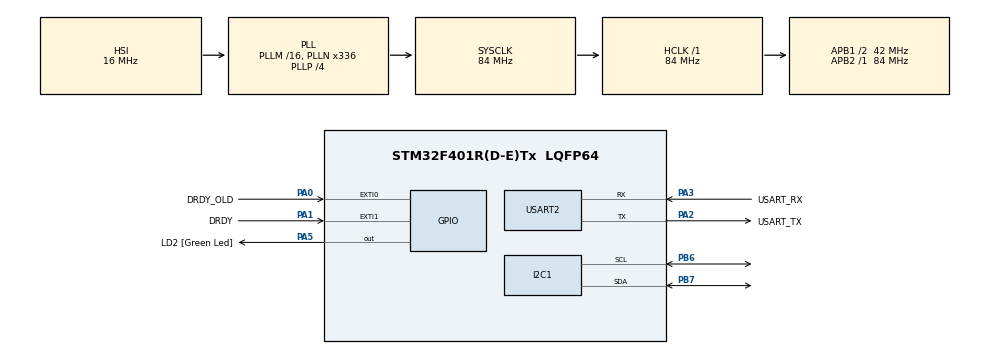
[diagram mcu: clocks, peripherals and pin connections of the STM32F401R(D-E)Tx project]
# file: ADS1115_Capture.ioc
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Mcu.Family=STM32F4
Mcu.Name=STM32F401R(D-E)Tx
Mcu.Package=LQFP64
NVIC.EXTI0_IRQn=true\:0\:0\:false\:false\:true\:true\:true\:true
NVIC.EXTI1_IRQn=true\:0\:0\:false\:false\:true\:true\:true\:true
NVIC.PriorityGroup=NVIC_PRIORITYGROUP_0
PA0-WKUP.GPIO_Label=DRDY_OLD
PA0-WKUP.GPIO_ModeDefaultEXTI=GPIO_MODE_IT_RISING
PA0-WKUP.GPIO_PuPd=GPIO_NOPULL
PA0-WKUP.Signal=GPXTI0
PA1.GPIO_Label=DRDY
PA1.Signal=GPXTI1
PA2.GPIO_Label=USART_TX
PA2.GPIO_Mode=GPIO_MODE_AF_PP
PA2.GPIO_PuPd=GPIO_NOPULL
PA2.GPIO_Speed=GPIO_SPEED_FREQ_LOW
PA2.Mode=Asynchronous
PA2.Signal=USART2_TX
PA3.GPIO_Label=USART_RX
PA3.GPIO_Mode=GPIO_MODE_AF_PP
PA3.GPIO_PuPd=GPIO_NOPULL
PA3.GPIO_Speed=GPIO_SPEED_FREQ_LOW
PA3.Mode=Asynchronous
PA3.Signal=USART2_RX
PA5.GPIO_Label=LD2 [Green Led]
PA5.GPIO_Mode=GPIO_MODE_OUTPUT_PP
PA5.GPIO_PuPd=GPIO_NOPULL
PA5.GPIO_Speed=GPIO_SPEED_FREQ_LOW
PA5.Signal=GPIO_Output
PB6.Mode=I2C
PB6.Signal=I2C1_SCL
PB7.Mode=I2C
PB7.Signal=I2C1_SDA
ProjectManager.HeapSize=0x200
ProjectManager.StackSize=0x400
ProjectManager.TargetToolchain=STM32CubeIDE
RCC.48MHZClocksFreq_Value=48000000
RCC.AHBFreq_Value=84000000
RCC.APB1CLKDivider=RCC_HCLK_DIV2
RCC.APB1Freq_Value=42000000
RCC.APB1TimFreq_Value=84000000
RCC.APB2Freq_Value=84000000
RCC.APB2TimFreq_Value=84000000
RCC.CortexFreq_Value=84000000
RCC.HCLKFreq_Value=84000000
RCC.HSE_VALUE=8000000
RCC.HSI_VALUE=16000000
RCC.LSE_VALUE=32768
RCC.PLLN=336
RCC.PLLP=RCC_PLLP_DIV4
RCC.PLLQ=7
RCC.SYSCLKFreq_VALUE=84000000
RCC.SYSCLKSource=RCC_SYSCLKSOURCE_PLLCLK
RCC.VCOOutputFreq_Value=336000000
USART2.VirtualMode=VM_ASYNC
board=NUCLEO-F401RE

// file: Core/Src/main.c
/* USER CODE BEGIN Header */
/**
  ******************************************************************************
  * @file           : main.c
  * @brief          : Main program body
  ******************************************************************************
  * @attention
  *
  * Copyright (c) 2023 STMicroelectronics.
  * All rights reserved.
  *
  * This software is licensed under terms that can be found in the LICENSE file
  * in the root directory of this software component.
  * If no LICENSE file comes with this software, it is provided AS-IS.
  *
  ******************************************************************************
  */
/* USER CODE END Header */
#include "main.h"

/* USER CODE BEGIN Includes */
#include <inttypes.h>
#include <string.h>
#include <stdio.h>

#include "stm32f4xx_hal_tim.h"

/* USER CODE END Includes */

/* USER CODE BEGIN PD */

#define CONTROL_BYTE_W 0b10010000
#define CONTROL_BYTE_R 0b10010001

#define CONFIG_REG_ADDR 0x01
#define LOW_THRESHOLD_RED_ADDR 0x02
#define HIGH_THROSHOLD_REG_ADDR 0x03

#define CONFIG_REG_MSB 0b11000011
#define CONFIG_REG_LSB 0b11100000

/* USER CODE END PD */

I2C_HandleTypeDef hi2c1;

UART_HandleTypeDef huart2;

void SystemClock_Config(void);
static void MX_GPIO_Init(void);
static void MX_USART2_UART_Init(void);
static void MX_I2C1_Init(void);

/* USER CODE BEGIN 0 */

void ADS1115_INIT(void)
{

	uint8_t i2c_tx_data[3];

	//CONFIG
	i2c_tx_data[0]= CONFIG_REG_ADDR; //Conf Reg Address
	i2c_tx_data[1] = CONFIG_REG_MSB; //MSB Conf Reg
	i2c_tx_data[2] = CONFIG_REG_LSB; //LSB Conf Reg
	HAL_I2C_Master_Transmit(&hi2c1, CONTROL_BYTE_W, i2c_tx_data, 3*8, HAL_MAX_DELAY);
	HAL_Delay(20);

	i2c_tx_data[0] = LOW_THRESHOLD_RED_ADDR; //Lo-threshold Register Address
	i2c_tx_data[1] = 0x00; //MSB lo-t Reg
	i2c_tx_data[2] = 0x00; //LSB lo-t Reg
	HAL_I2C_Master_Transmit(&hi2c1, CONTROL_BYTE_W, i2c_tx_data, 3*8, HAL_MAX_DELAY);
	HAL_Delay(20);

	i2c_tx_data[0] = HIGH_THROSHOLD_REG_ADDR; //Hi-threshold Register Address
	i2c_tx_data[1] = 0xFF; //MSB hi-t Reg
	i2c_tx_data[2] = 0xFF; //LSB hi-t Reg
	HAL_I2C_Master_Transmit(&hi2c1, CONTROL_BYTE_W, i2c_tx_data, 3*8, HAL_MAX_DELAY);
	HAL_Delay(20);

	//TxBuffer[0] = 0x00; //Conversion Register Address
	//HAL_I2C_Master_Transmit(&hi2c1, CONTROL_BYTE_W, TxBuffer, 8, HAL_MAX_DELAY);
	//HAL_Delay(20);

}

void HAL_GPIO_EXTI_Callback(uint16_t GPIO_Pin){

	if(GPIO_Pin == DRDY_Pin)
	{

		char tx_value_str[12];
		uint8_t i2c_rx_data[2];

		HAL_I2C_Mem_Read(&hi2c1, CONTROL_BYTE_R, 0, 1, i2c_rx_data, 2, HAL_MAX_DELAY);

		uint16_t conversion_value = (i2c_rx_data[0] << 8) | (i2c_rx_data[1]);

		uint16_t nbytes = sprintf(tx_value_str, "%d\n\r", conversion_value);

		HAL_UART_Transmit(&huart2, tx_value_str, nbytes, HAL_MAX_DELAY);

	}

}

void TIM4_IRQHandler(TIM_HandleTypeDef *htim){
  if(TIM4->SR & TIM_SR_UIF)
  {

	HAL_GPIO_WritePin(LD2_GPIO_Port, LD2_Pin, 1);

	uint8_t i2c_tx_data[3];

	i2c_tx_data[0]= CONFIG_REG_ADDR; //Conf Reg Address
	i2c_tx_data[1] = CONFIG_REG_MSB; //MSB Conf Reg
	i2c_tx_data[2] = CONFIG_REG_LSB; //LSB Conf Reg Para 860SPS

	HAL_I2C_Master_Transmit(&hi2c1, CONTROL_BYTE_W, i2c_tx_data, 3*8, HAL_MAX_DELAY);
	HAL_GPIO_WritePin(LD2_GPIO_Port, LD2_Pin, 0);
	TIM4->SR &= 0;

  }

}

/* USER CODE END 0 */

int main(void)
{

  /* MCU Configuration--------------------------------------------------------*/

  /* Reset of all peripherals, Initializes the Flash interface and the Systick. */
  HAL_Init();

  /* Configure the system clock */
  SystemClock_Config();

  /* Initialize all configured peripherals */
  MX_GPIO_Init();
  MX_USART2_UART_Init();
  MX_I2C1_Init();
  /* USER CODE BEGIN 2 */

  ADS1115_INIT();

  //Configuro manualmente TIM4 para samplear a 500SPS.
  //El generador de codigo de STM32CubeIDE no funciona... :(

  RCC->APB1ENR |= RCC_APB1ENR_TIM4EN;
  TIM4->PSC = 2	;
  TIM4->ARR = 55999;
  TIM4->DIER |= TIM_DIER_UIE;
  TIM4->SR &= ~TIM_SR_UIF;
  NVIC_EnableIRQ(TIM4_IRQn);
  HAL_NVIC_SetPriority(TIM4_IRQn, 0, 0);
  TIM4->CR1 |= TIM_CR1_CEN;

  /* USER CODE END 2 */

  /* Infinite loop */
  while (1)
  {

  }
}

void SystemClock_Config(void)
{
  RCC_OscInitTypeDef RCC_OscInitStruct = {0};
  RCC_ClkInitTypeDef RCC_ClkInitStruct = {0};

  /** Configure the main internal regulator output voltage
  */
  __HAL_RCC_PWR_CLK_ENABLE();
  __HAL_PWR_VOLTAGESCALING_CONFIG(PWR_REGULATOR_VOLTAGE_SCALE2);

  /** Initializes the RCC Oscillators according to the specified parameters
  * in the RCC_OscInitTypeDef structure.
  */
  RCC_OscInitStruct.OscillatorType = RCC_OSCILLATORTYPE_HSI;
  RCC_OscInitStruct.HSIState = RCC_HSI_ON;
  RCC_OscInitStruct.HSICalibrationValue = RCC_HSICALIBRATION_DEFAULT;
  RCC_OscInitStruct.PLL.PLLState = RCC_PLL_ON;
  RCC_OscInitStruct.PLL.PLLSource = RCC_PLLSOURCE_HSI;
  RCC_OscInitStruct.PLL.PLLM = 16;
  RCC_OscInitStruct.PLL.PLLN = 336;
  RCC_OscInitStruct.PLL.PLLP = RCC_PLLP_DIV4;
  RCC_OscInitStruct.PLL.PLLQ = 7;
  if (HAL_RCC_OscConfig(&RCC_OscInitStruct) != HAL_OK)
  {
    Error_Handler();
  }

  /** Initializes the CPU, AHB and APB buses clocks
  */
  RCC_ClkInitStruct.ClockType = RCC_CLOCKTYPE_HCLK|RCC_CLOCKTYPE_SYSCLK
                              |RCC_CLOCKTYPE_PCLK1|RCC_CLOCKTYPE_PCLK2;
  RCC_ClkInitStruct.SYSCLKSource = RCC_SYSCLKSOURCE_PLLCLK;
  RCC_ClkInitStruct.AHBCLKDivider = RCC_SYSCLK_DIV1;
  RCC_ClkInitStruct.APB1CLKDivider = RCC_HCLK_DIV2;
  RCC_ClkInitStruct.APB2CLKDivider = RCC_HCLK_DIV1;

  if (HAL_RCC_ClockConfig(&RCC_ClkInitStruct, FLASH_LATENCY_2) != HAL_OK)
  {
    Error_Handler();
  }
}

static void MX_I2C1_Init(void)
{

  hi2c1.Instance = I2C1;
  hi2c1.Init.ClockSpeed = 100000;
  hi2c1.Init.DutyCycle = I2C_DUTYCYCLE_2;
  hi2c1.Init.OwnAddress1 = 0;
  hi2c1.Init.AddressingMode = I2C_ADDRESSINGMODE_7BIT;
  hi2c1.Init.DualAddressMode = I2C_DUALADDRESS_DISABLE;
  hi2c1.Init.OwnAddress2 = 0;
  hi2c1.Init.GeneralCallMode = I2C_GENERALCALL_DISABLE;
  hi2c1.Init.NoStretchMode = I2C_NOSTRETCH_DISABLE;
  if (HAL_I2C_Init(&hi2c1) != HAL_OK)
  {
    Error_Handler();
  }

}

static void MX_USART2_UART_Init(void)
{

  huart2.Instance = USART2;
  huart2.Init.BaudRate = 115200;
  huart2.Init.WordLength = UART_WORDLENGTH_8B;
  huart2.Init.StopBits = UART_STOPBITS_1;
  huart2.Init.Parity = UART_PARITY_NONE;
  huart2.Init.Mode = UART_MODE_TX_RX;
  huart2.Init.HwFlowCtl = UART_HWCONTROL_NONE;
  huart2.Init.OverSampling = UART_OVERSAMPLING_16;
  if (HAL_UART_Init(&huart2) != HAL_OK)
  {
    Error_Handler();
  }

}

static void MX_GPIO_Init(void)
{
  GPIO_InitTypeDef GPIO_InitStruct = {0};

  /* GPIO Ports Clock Enable */
  __HAL_RCC_GPIOA_CLK_ENABLE();
  __HAL_RCC_GPIOB_CLK_ENABLE();

  /*Configure GPIO pin Output Level */
  HAL_GPIO_WritePin(LD2_GPIO_Port, LD2_Pin, GPIO_PIN_RESET);

  /*Configure GPIO pins : DRDY_OLD_Pin DRDY_Pin */
  GPIO_InitStruct.Pin = DRDY_OLD_Pin|DRDY_Pin;
  GPIO_InitStruct.Mode = GPIO_MODE_IT_RISING;
  GPIO_InitStruct.Pull = GPIO_NOPULL;
  HAL_GPIO_Init(GPIOA, &GPIO_InitStruct);

  /*Configure GPIO pin : LD2_Pin */
  GPIO_InitStruct.Pin = LD2_Pin;
  GPIO_InitStruct.Mode = GPIO_MODE_OUTPUT_PP;
  GPIO_InitStruct.Pull = GPIO_NOPULL;
  GPIO_InitStruct.Speed = GPIO_SPEED_FREQ_LOW;
  HAL_GPIO_Init(LD2_GPIO_Port, &GPIO_InitStruct);

  /* EXTI interrupt init*/
  HAL_NVIC_SetPriority(EXTI0_IRQn, 0, 0);
  HAL_NVIC_EnableIRQ(EXTI0_IRQn);

  HAL_NVIC_SetPriority(EXTI1_IRQn, 0, 0);
  HAL_NVIC_EnableIRQ(EXTI1_IRQn);

}

void Error_Handler(void)
{
  __disable_irq();
  while (1)
  {
  }
}
